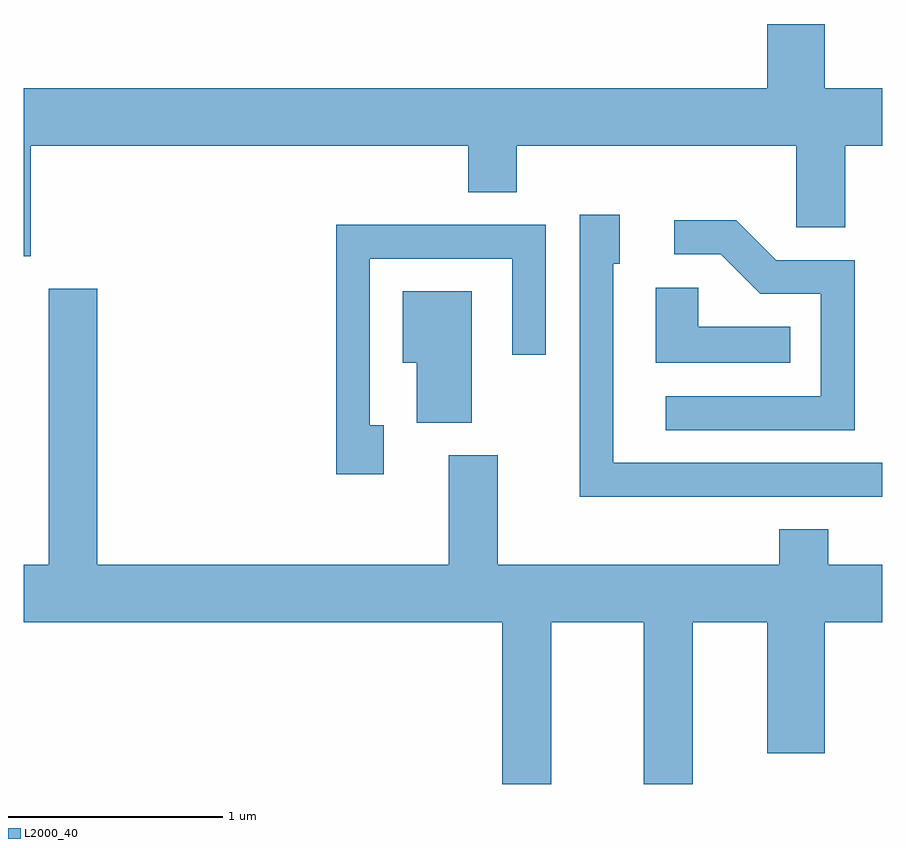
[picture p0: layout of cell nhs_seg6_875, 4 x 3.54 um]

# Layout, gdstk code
import gdstk
lib = gdstk.Library(unit=1e-6, precision=1e-09)
def P(c, l, *ps):  # polygons
    for p in ps: c.add(gdstk.Polygon(p, *l))
L2000_40 = (2000, 40)

nhs_seg6_875 = lib.new_cell('nhs_seg6_875')
P(nhs_seg6_875, L2000_40, [(211.644,1561.136),(213.681,1561.136),(213.681,1560.921),(213.909,1560.921),(213.909,1561.136),(215.211,1561.136),(215.211,1560.756),(215.439,1560.756),(215.439,1561.136),(215.611,1561.136),(215.611,1561.404),(215.344,1561.404),(215.344,1561.704),(215.076,1561.704),(215.076,1561.404),(211.611,1561.404),(211.611,1560.621),(211.644,1560.621)],
  [(215.611,1559.659),(214.359,1559.659),(214.359,1560.586),(214.389,1560.586),(214.389,1560.814),(214.201,1560.814),(214.201,1559.501),(215.611,1559.501)],
  [(215.484,1560.604),(215.117,1560.604),(214.932,1560.789),(214.643,1560.789),(214.643,1560.631),(214.859,1560.631),(215.044,1560.446),(215.326,1560.446),(215.326,1559.969),(214.603,1559.969),(214.603,1559.811),(215.484,1559.811)],
  [(213.289,1559.834),(213.224,1559.834),(213.224,1560.611),(213.886,1560.611),(213.886,1560.163),(214.044,1560.163),(214.044,1560.769),(213.066,1560.769),(213.066,1559.606),(213.289,1559.606)],
  [(215.183,1560.294),(214.754,1560.294),(214.754,1560.474),(214.556,1560.474),(214.556,1560.126),(215.183,1560.126)],
  [(214.069,1558.916),(214.501,1558.916),(214.501,1558.162),(214.729,1558.162),(214.729,1558.916),(215.076,1558.916),(215.076,1558.306),(215.344,1558.306),(215.344,1558.916),(215.611,1558.916),(215.611,1559.184),(215.359,1559.184),(215.359,1559.349),(215.131,1559.349),(215.131,1559.184),(213.819,1559.184),(213.819,1559.694),(213.591,1559.694),(213.591,1559.184),(211.954,1559.184),(211.954,1560.469),(211.726,1560.469),(211.726,1559.184),(211.611,1559.184),(211.611,1558.916),(213.841,1558.916),(213.841,1558.162),(214.069,1558.162)],
  [(213.699,1560.459),(213.376,1560.459),(213.376,1560.126),(213.441,1560.126),(213.441,1559.846),(213.699,1559.846)])

lib.write_gds('nhs_seg6_875.gds')
